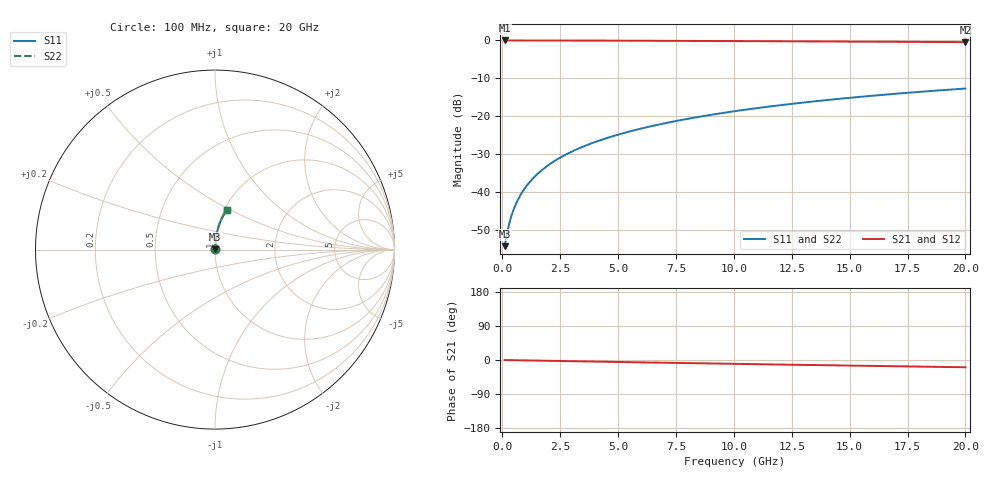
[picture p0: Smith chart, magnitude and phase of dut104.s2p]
! Touchstone file exported from HFSS 2024.1.0
!  File:  C:/UserFiles/LocalFiles/RDL_TSV_Batchsim/temp_RDL_top_104_1778683357.aedt
!  Generated:  10:44:58 PM May 13, 2026
!  Design:  RDL_top
!  Project:  temp_RDL_top_104_1778683357
!  Setup:  Setup1
!  Solution:  Sweep
! Variables:
!  dtsv = 10.80580581um
!  hbump = 3um
!  htsv = 53.27um
!  ldown = 100um
!  lrdl = 232.68um
!  p = 40
!  p1 = 44.32um
!  rhole = 1um
!  t = 450um
!  tdown = 3.915915916um
!  trdl = 4.1um
!  wdown = 15.38538539um
!  wrdl = 14.17um
# GHz S MA R 50.000000
! Terminal data exported
! Port[1] = Box2_T1
! Port[2] = Box2_T2
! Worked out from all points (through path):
!   200 points, 100 MHz to 20 GHz, reference 50 ohm
!   highest |S21| = -0.01 dB at 100 MHz (marker M1); lowest = -0.4 dB at 20 GHz (marker M2)
!   group delay of S21, straight-line fit = 2.65 ps
!   lowest |S11| = -54.1 dB at 100 MHz (marker M3), VSWR 1.00, Z = 50.2 + j0.12 ohm
!   |S11| at or under -10 dB: start of sweep to end of sweep
!   |S22| runs from -54.1 to -12.7 dB; largest |S21 - S12| = 3.2e-15
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0.1  0.001964 37.6  0.9984 -0.1  0.9984 -0.1  0.001964 37.6
! Gamma 0 0 0 0
! Port Impedance 50 0 50 0
0.2  0.002866 56.2  0.9984 -0.2  0.9984 -0.2  0.002866 56.2
0.3  0.003904 65.2  0.9983 -0.3  0.9983 -0.3  0.003904 65.2
0.4  0.004982 70.2  0.9983 -0.4  0.9983 -0.4  0.004982 70.2
0.5  0.006076 73.5  0.9982 -0.5  0.9982 -0.5  0.006076 73.5
0.6  0.007179 75.8  0.9982 -0.7  0.9982 -0.7  0.007179 75.8
0.8  0.009404 78.9  0.9981 -0.9  0.9981 -0.9  0.009404 78.9
1.1  0.01277 81.4  0.9979 -1.2  0.9979 -1.2  0.01277 81.4
1.5  0.0173 83.2  0.9976 -1.6  0.9976 -1.6  0.0173 83.2
1.8  0.02071 84.0  0.9973 -1.9  0.9973 -1.9  0.02071 84.0
2.1  0.02413 84.5  0.997 -2.2  0.997 -2.2  0.02413 84.5
2.7  0.031 85.1  0.9963 -2.9  0.9963 -2.9  0.031 85.1
3.5  0.0402 85.3  0.9951 -3.7  0.9951 -3.7  0.0402 85.3
4.2  0.04829 85.3  0.9939 -4.4  0.9939 -4.4  0.04829 85.3
5  0.05759 85.1  0.9923 -5.2  0.9923 -5.2  0.05759 85.1
5.9  0.06812 84.8  0.9903 -6.2  0.9903 -6.2  0.06812 84.8
6.8  0.07871 84.3  0.9882 -7.0  0.9882 -7.0  0.07871 84.3
8.3  0.09647 83.3  0.9844 -8.5  0.9844 -8.5  0.09647 83.3
10.1  0.1179 82.0  0.9796 -10.2  0.9796 -10.2  0.1179 82.0
13.4  0.157 79.2  0.9703 -13.3  0.9703 -13.3  0.157 79.2
16.7  0.1955 76.2  0.9603 -16.3  0.9603 -16.3  0.1955 76.2
20  0.2328 73.2  0.9496 -19.2  0.9496 -19.2  0.2328 73.2
